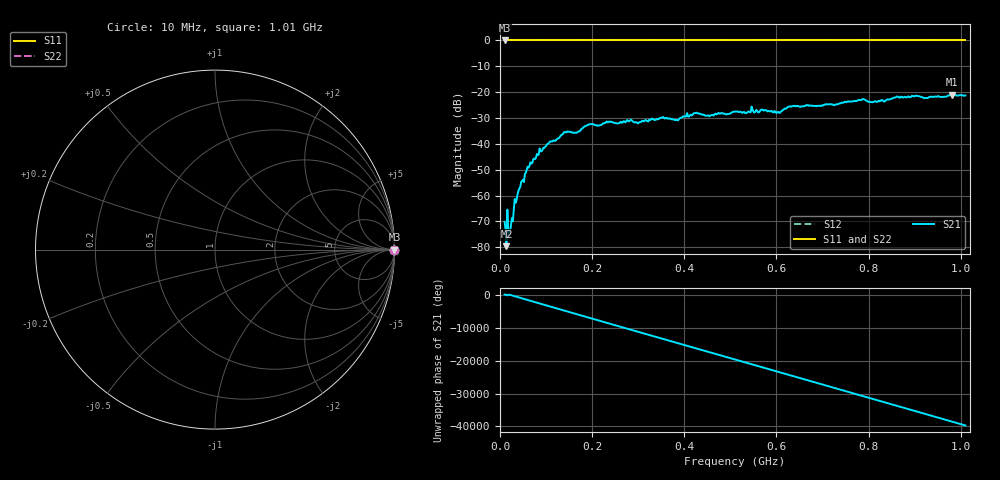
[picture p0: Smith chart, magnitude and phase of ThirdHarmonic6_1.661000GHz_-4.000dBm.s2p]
! 8/16/2025 7:53:57 PM
! C:\ANRITSUVNA\TEMP\TEMP.S2P
! CHANNEL.1
! TR.MEASUREMENT
! RAW.DATA
! RF.CORRECTION.OFF
! AVERAGING.OFF
! IF.BANDWIDTH: 5KHZ
! SWEEPTYPE:  FREQ.SWEEP(Linear)
! Reference Plane Port Info
! PORT:  PORT1  PORT2
! DISTANCE:  0  m  0  m
! TIME:  0  s  0  s
! PHASE.OFFSET:  0  deg.  0  deg.
! LOSS:  0  dB  0  dB
! REF.LOSS:  0  dB  0  dB
! REF.FREQ:  0  Hz  0  Hz
! Power Info
! POWER:  -20  dBm  -20  dBm
! EFF.POWER:  -20  dBm  -20  dBm
! SOURCE.ATTEN:  0  dB  0  dB
! TEST.ATTEN:  0  dB  0  dB
# GHZ S RI R 50.0
! FREQ.GHZ  S11RE  S11IM  S21RE  S21IM  S12RE  S12IM  S22RE  S22IM
!; PortSelection: Port_12
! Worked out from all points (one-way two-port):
!   501 points, 10 MHz to 1.01 GHz, reference 50 ohm
!   highest |S21| = -20.98 dB at 980 MHz (marker M1); lowest = -79.6 dB at 14 MHz (marker M2)
!   lowest |S11| = 0.0 dB at 10 MHz (marker M3)
!   |S11| at or under -10 dB: nowhere
!   |S22| runs from 0.0 to 0.0 dB; largest |S21 - S12| = 1.1
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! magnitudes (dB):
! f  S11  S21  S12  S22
! 10 MHz  0.0  -70.2  0.0  0.0
! 14 MHz  0.0  -79.6  0.0  0.0
! 18 MHz  0.0  -74.0  0.0  0.0
! 20 MHz  0.0  -75.6  0.0  0.0
! 24 MHz  0.0  -71.1  0.0  0.0
! 36 MHz  0.0  -61.8  0.0  0.0
! 58 MHz  0.0  -50.0  0.0  0.0
! 84 MHz  0.0  -44.2  0.0  0.0
! 142 MHz  0.0  -35.5  0.0  0.0
! 178 MHz  0.0  -34.1  0.0  0.0
! 234 MHz  0.0  -31.7  0.0  0.0
! 344 MHz  0.0  -30.5  0.0  0.0
! 384 MHz  0.0  -30.8  0.0  0.0
! 424 MHz  0.0  -28.1  0.0  0.0
! 450 MHz  0.0  -29.0  0.0  0.0
! 510 MHz  0.0  -27.5  0.0  0.0
! 604 MHz  0.0  -27.6  0.0  0.0
! 630 MHz  0.0  -25.5  0.0  0.0
! 678 MHz  0.0  -25.3  0.0  0.0
! 844 MHz  0.0  -22.9  0.0  0.0
! 980 MHz  0.0  -21.0  0.0  0.0
! 1.01 GHz  0.0  -21.3  0.0  0.0
